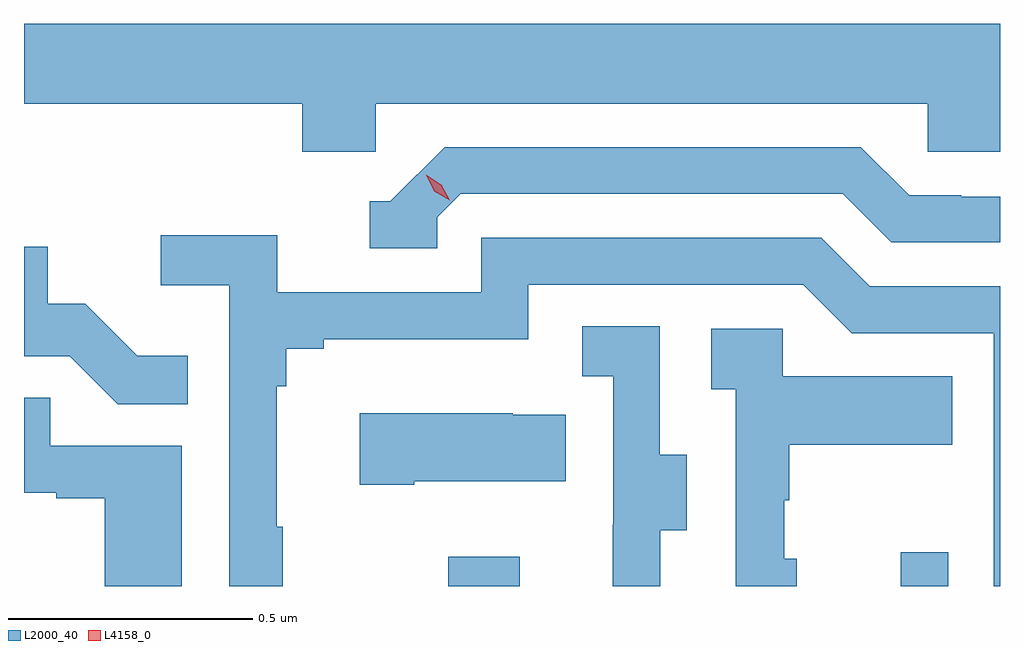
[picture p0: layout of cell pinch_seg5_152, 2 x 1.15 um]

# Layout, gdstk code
import gdstk
lib = gdstk.Library(unit=1e-6, precision=1e-09)
def R(c, l, rs):  # rectangles x0, y0, x1, y1
    for r in rs: c.add(gdstk.rectangle(r[:2], r[2:], *l))
def P(c, l, *ps):  # polygons
    for p in ps: c.add(gdstk.Polygon(p, *l))
L2000_40 = (2000, 40)
L4158_0 = (4158, 0)

pinch_seg5_152 = lib.new_cell('pinch_seg5_152')
R(pinch_seg5_152, L2000_40, [(1091.344,891.735,1091.491,891.796), (1092.272,891.735,1092.369,891.805)])
P(pinch_seg5_152, L2000_40, [(1091.196,892.724),(1092.327,892.724),(1092.327,892.626),(1092.475,892.626),(1092.475,892.888),(1090.475,892.888),(1090.475,892.724),(1091.045,892.724),(1091.045,892.626),(1091.196,892.626)],
  [(1091.322,892.491),(1091.37,892.539),(1092.153,892.539),(1092.252,892.44),(1092.475,892.44),(1092.475,892.533),(1092.396,892.533),(1092.396,892.536),(1092.289,892.536),(1092.19,892.635),(1091.337,892.635),(1091.226,892.524),(1091.183,892.524),(1091.183,892.428),(1091.322,892.428)],
  [(1091.005,891.857),(1090.993,891.857),(1090.993,892.145),(1091.012,892.145),(1091.012,892.222),(1091.089,892.222),(1091.089,892.241),(1091.508,892.241),(1091.508,892.353),(1092.072,892.353),(1092.171,892.254),(1092.462,892.254),(1092.462,891.735),(1092.475,891.735),(1092.475,892.35),(1092.208,892.35),(1092.109,892.449),(1091.412,892.449),(1091.412,892.338),(1090.994,892.338),(1090.994,892.454),(1090.755,892.454),(1090.755,892.352),(1090.896,892.352),(1090.896,891.735),(1091.005,891.735)],
  [(1090.811,892.207),(1090.707,892.207),(1090.6,892.314),(1090.524,892.314),(1090.524,892.431),(1090.475,892.431),(1090.475,892.206),(1090.569,892.206),(1090.667,892.108),(1090.811,892.108)],
  [(1091.779,891.85),(1091.833,891.85),(1091.833,892.005),(1091.778,892.005),(1091.778,892.268),(1091.619,892.268),(1091.619,892.165),(1091.682,892.165),(1091.682,891.861),(1091.681,891.861),(1091.681,891.735),(1091.779,891.735)],
  [(1092.058,891.792),(1092.033,891.792),(1092.033,891.911),(1092.043,891.911),(1092.043,892.025),(1092.377,892.025),(1092.377,892.165),(1092.03,892.165),(1092.03,892.263),(1091.883,892.263),(1091.883,892.139),(1091.934,892.139),(1091.934,891.735),(1092.058,891.735)],
  [(1090.798,892.023),(1090.529,892.023),(1090.529,892.121),(1090.475,892.121),(1090.475,891.927),(1090.541,891.927),(1090.541,891.915),(1090.64,891.915),(1090.64,891.735),(1090.798,891.735)],
  [(1091.275,891.95),(1091.585,891.95),(1091.585,892.087),(1091.477,892.087),(1091.477,892.09),(1091.163,892.09),(1091.163,891.943),(1091.275,891.943)])
P(pinch_seg5_152, L4158_0, [(1091.347,892.526),(1091.316,892.545),(1091.299,892.577),(1091.299,892.578),(1091.299,892.578),(1091.33,892.558),(1091.347,892.526),(1091.347,892.526)])

lib.write_gds('pinch_seg5_152.gds')
